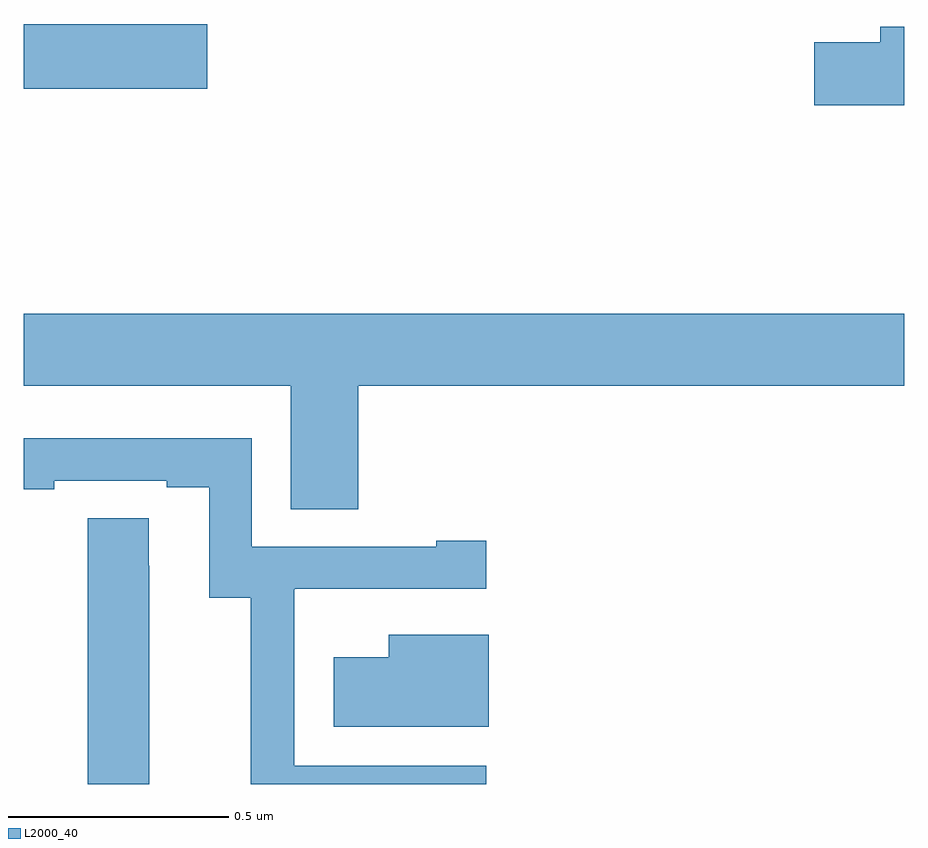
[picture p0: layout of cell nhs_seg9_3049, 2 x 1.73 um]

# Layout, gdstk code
import gdstk
lib = gdstk.Library(unit=1e-6, precision=1e-09)
def R(c, l, rs):  # rectangles x0, y0, x1, y1
    for r in rs: c.add(gdstk.rectangle(r[:2], r[2:], *l))
def P(c, l, *ps):  # polygons
    for p in ps: c.add(gdstk.Polygon(p, *l))
L2000_40 = (2000, 40)

nhs_seg9_3049 = lib.new_cell('nhs_seg9_3049')
R(nhs_seg9_3049, L2000_40, [(148,1213.079,148.417,1213.226)])
P(nhs_seg9_3049, L2000_40, [(150,1213.22),(149.945,1213.22),(149.945,1213.184),(149.796,1213.184),(149.796,1213.042),(150,1213.042)],
  [(148.76,1212.404),(150,1212.404),(150,1212.568),(148,1212.568),(148,1212.404),(148.607,1212.404),(148.607,1212.124),(148.76,1212.124)],
  [(149.05,1211.541),(148.614,1211.541),(148.614,1211.942),(148.616,1211.942),(148.616,1211.943),(149.05,1211.943),(149.05,1212.052),(148.937,1212.052),(148.937,1212.039),(148.518,1212.039),(148.518,1212.285),(148,1212.285),(148,1212.169),(148.069,1212.169),(148.069,1212.189),(148.325,1212.189),(148.325,1212.174),(148.421,1212.174),(148.421,1211.923),(148.516,1211.923),(148.516,1211.5),(149.05,1211.5)],
  [(148.285,1211.996),(148.284,1211.996),(148.284,1212.104),(148.145,1212.104),(148.145,1211.5),(148.285,1211.5)],
  [(149.056,1211.839),(148.829,1211.839),(148.829,1211.788),(148.704,1211.788),(148.704,1211.63),(149.056,1211.63)])

lib.write_gds('nhs_seg9_3049.gds')
